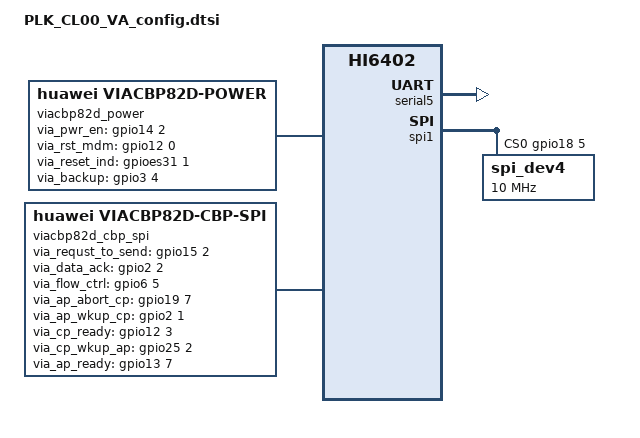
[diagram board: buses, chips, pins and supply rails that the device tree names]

/**
 * Huawei Ltd.
 * PhosphorV660
 */


/include/ "fastboot.dtsi"
/include/ "PLK_TL00H_VA_config.dtsi"
/include/ "PLK_CL00_VA_pin.dtsi"
/include/ "PLK_CL00_VA_hi6402_pin.dtsi"
/include/ "PLK_CL00_VA_modem_pin.dtsi"
///include/ "PLK_CL00_VA_charger.dtsi"
///include/ "PLK_CL00_VA_pmic.dtsi"
///include/ "PLK_CL00_VA_gpio_logic.dtsi"
/include/ "huawei_ext_modem.dtsi"

/ {
	hisi,boardid = <1 8 0 3 >;
	hisi,boardname = "PLK_CL00_VA";
	hisi,modem_id = <0x3EBE0980>;

	bcm_wifi {
		wifi_nvram_name = "/vendor/firmware/nvram4339_hw_plk_cl00.txt";
	};

	amba {
		serial5: uart@fdf05000 {
			pinctrl-names = "default", "idle";
			pinctrl-0 = <>;
			pinctrl-1 = <>;
			//pinctrl-0 = <&gpio068_pmx_func &gpio069_pmx_func &gpio070_pmx_func &gpio068_cfg_func
			//	     &gpio069_cfg_func &gpio070_cfg_func &gpio071_cfg_func>;
			//pinctrl-1 = <&gpio068_pmx_idle &gpio069_pmx_idle &gpio070_pmx_idle &gpio068_cfg_idle
			//	     &gpio069_cfg_idle &gpio070_cfg_idle &gpio071_cfg_idle>;
			reset-controller-reg = <0x078 0x07c 0x080 15>;
			status = "ok";
		};

		spi1: spi@fdf08000 {
				status = "ok";
				pinctrl-names = "default", "idle";
				pinctrl-0 = <&gpio146_pmx_func &gpio147_pmx_func &gpio148_pmx_func &gpio149_pmx_func
					     &gpio146_cfg_func &gpio147_cfg_func &gpio148_cfg_func &gpio149_cfg_func>;
				pinctrl-1 = <&gpio146_pmx_idle &gpio147_pmx_idle &gpio148_pmx_idle &gpio149_pmx_idle
					     &gpio146_cfg_idle &gpio147_cfg_idle &gpio148_cfg_idle &gpio149_cfg_idle>;

				num-cs = <1>;
				#address-cells = <1>;
				#size-cells = <0>;
				cs-gpios = <&gpio18 5 0>;
				spi_dev4: spi_dev4@4 {
						compatible = "spi_dev4";
						spi-max-frequency = <10000000>;
						reg = <0>;
						pl022,com-mode = <2>;
						pl022,interface = <0>;
						pl022,rx-level-trig = <3>;
						pl022,tx-level-trig = <3>;
						pl022,ctrl-len = <7>;
						pl022,wait-state = <0>;
						pl022,duplex = <0>;
						pl022,slave-tx-disable = <0>;
				};
		};

        /*delete nfc on CL*/
	};

	rnic_adapter:rnic_adapter {
		status = "ok";
	};

        /*delete nfc on CL*/

	viacbp82d_power:viacbp82d_power {
		compatible = "huawei,viacbp82d-power";
		via_pwr_en = <&gpio14 2 0>;           // modem power enable     114
		via_rst_mdm = <&gpio12 0 0>;          // reset modem            96
		via_reset_ind = <&gpioes31 1 0>;      // modem reset notice AP  249 (hi6402 gpio 25)
		via_backup = <&gpio3 4 0>;            // ap notify via produce ramdump 28
		status = "ok";
	};

	viacbp82d_cbp_spi:viacbp82d_cbp_spi {
		compatible = "huawei,viacbp82d-cbp-spi";
		via_requst_to_send = <&gpio15 2 0>;   // modem request to send  122
		via_data_ack = <&gpio2 2 0>;          // modem data ack         18
		via_flow_ctrl = <&gpio6 5 0>;         // modem flow control     53
		via_ap_abort_cp = <&gpio19 7 0>;      // ap abort cp            159
		via_ap_wkup_cp = <&gpio2 1 0>;        // ap wakeup cp           17
		via_cp_ready = <&gpio12 3 0>;         // cp ready               99
		via_cp_wkup_ap = <&gpio25 2 0>;       // cp wakeup ap           202
		via_ap_ready = <&gpio13 7 0>;         // ap ready               111
		status = "ok";
	};

	audio_hw_config {
		modem_sio_master = "false";
		status = "ok";
	};

	antenna_fpga{
		compatible = "antenna_fpga";
		antenna_fpga,pre-image-filename = "PLK-CL00-VA.bin";
		status = "ok";
	};
};

